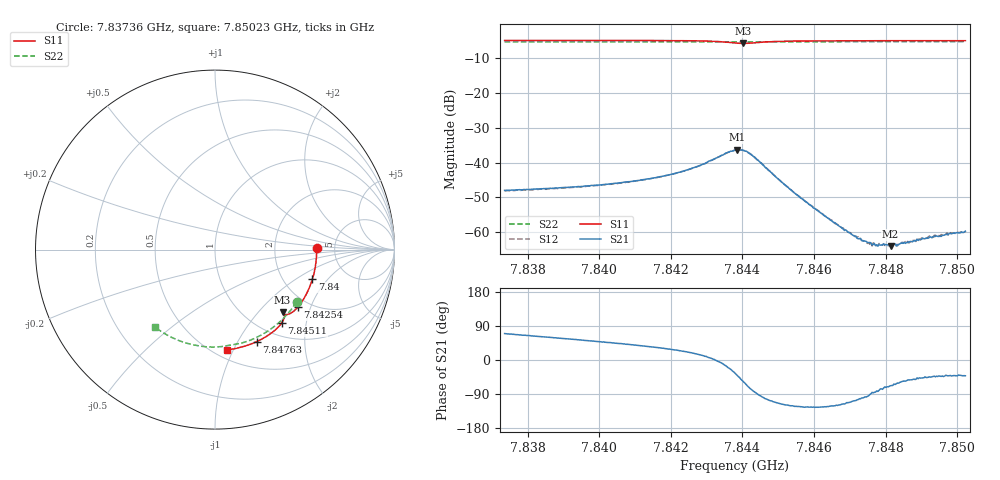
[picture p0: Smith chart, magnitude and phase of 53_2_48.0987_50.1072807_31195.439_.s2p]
#  HZ  S  RI  R  50.00
! Rohde & Schwarz Vector Network Analyzer
! Rohde-Schwarz,ZNB20-2Port,1311601062101988,3.16
! Created: UTC 12/23/2023, 3:39:59 AM
! freq[Hz]  re:S11  im:S11  re:S21  im:S21  re:S12  im:S12  re:S22  im:S22
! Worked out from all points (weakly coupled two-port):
!   401 points, 7.83736 GHz to 7.85023 GHz, reference 50 ohm
!   highest |S21| = -36.27 dB at 7.84386 GHz (marker M1); lowest = -64.0 dB at 7.84814 GHz (marker M2)
!   lowest |S11| = -5.8 dB at 7.84402 GHz (marker M3), VSWR 3.12, Z = 71.9 - j68.5 ohm
!   |S11| at or under -10 dB: nowhere
!   |S22| runs from -5.4 to -5.3 dB; largest |S21 - S12| = 0.00036
!   S11 on the Smith chart (normalised r, x): 7.83736 GHz: 3.61, +0.12; 7.84 GHz: 2.89, -1.38; 7.84254 GHz: 1.75, -1.63; 7.84511 GHz: 1.24, -1.46; 7.84763 GHz: 0.80, -1.20; 7.85023 GHz: 0.58, -0.94
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7.837355e9  0.5664 0.0114  0.00138 0.00374  0.00143 0.00365  0.4542 -0.2917
7.839512e9  0.5515 -0.1314  0.00276 0.0036  0.00271 0.00354  0.3564 -0.4064
7.839995e9  0.5432 -0.1627  0.00317 0.00355  0.00311 0.00354  0.3304 -0.4279
7.840864e9  0.5228 -0.2183  0.00403 0.00347  0.00401 0.00346  0.2802 -0.4629
7.841669e9  0.4981 -0.2682  0.00526 0.00332  0.00521 0.00333  0.2305 -0.4898
7.842538e9  0.462 -0.3199  0.00761 0.00271  0.00755 0.00273  0.1737 -0.5127
7.843311e9  0.4143 -0.3583  0.0118 -0.000684  0.0119 -0.000532  0.1213 -0.5267
7.843794e9  0.3793 -0.358  0.0124 -0.00859  0.0124 -0.00858  0.0891 -0.5317
7.843858e9  0.3772 -0.3557  0.0115 -0.0101  0.0115 -0.00998  0.0848 -0.5322
7.844019e9  0.3764 -0.3502  0.00828 -0.0125  0.00835 -0.0124  0.0749 -0.5338
7.844309e9  0.3851 -0.3541  0.0016 -0.0121  0.00169 -0.0123  0.0564 -0.5372
7.845114e9  0.3722 -0.408  -0.00231 -0.00461  -0.00232 -0.00459  0.000183 -0.5429
7.845951e9  0.3303 -0.4521  -0.00133 -0.00192  -0.00133 -0.00194  -0.0589 -0.5406
7.846917e9  0.2755 -0.4904  -0.000399 -0.000968  -0.000439 -0.00093  -0.1261 -0.5297
7.847174e9  0.2601 -0.4989  -0.000251 -0.000828  -0.000272 -0.000832  -0.1437 -0.5253
7.847432e9  0.2445 -0.5068  -9.53e-05 -0.000738  -7.87e-05 -0.000725  -0.1611 -0.5202
7.847625e9  0.2327 -0.5126  5.22e-05 -0.000656  -1.17e-05 -0.000635  -0.1738 -0.5163
7.847786e9  0.2228 -0.517  7.86e-05 -0.000627  0.000103 -0.000631  -0.1846 -0.5126
7.848108e9  0.2028 -0.5253  0.000236 -0.000623  0.000254 -0.000594  -0.2059 -0.5048
7.84814e9  0.2009 -0.526  0.000236 -0.000583  0.000252 -0.000596  -0.2079 -0.5039
7.849428e9  0.1182 -0.5503  0.000652 -0.000601  0.000648 -0.000614  -0.2884 -0.4633
7.850233e9  0.0655 -0.5588  0.000771 -0.000688  0.000768 -0.000667  -0.335 -0.4315
